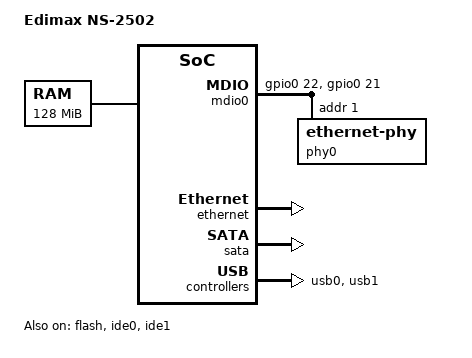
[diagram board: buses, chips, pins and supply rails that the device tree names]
// SPDX-License-Identifier: GPL-2.0
/*
 * Copyright (C) 2021 Corentin Labbe <clabbe@baylibre.com>
 * Device Tree file for Edimax NS 2502
 */

/dts-v1/;

#include "gemini.dtsi"

/ {
	model = "Edimax NS-2502";
	compatible = "edimax,ns-2502", "cortina,gemini";
	#address-cells = <1>;
	#size-cells = <1>;

	memory@0 {
		/* 128 MB */
		device_type = "memory";
		reg = <0x00000000 0x8000000>;
	};

	aliases {
		mdio-gpio0 = &mdio0;
	};

	chosen {
		bootargs = "console=ttyS0,19200n8";
		stdout-path = &uart0;
	};

	mdio0: mdio {
		compatible = "virtual,mdio-gpio";
		gpios = <&gpio0 22 GPIO_ACTIVE_HIGH>, /* MDC */
			<&gpio0 21 GPIO_ACTIVE_HIGH>; /* MDIO */
		#address-cells = <1>;
		#size-cells = <0>;

		phy0: ethernet-phy@1 {
			reg = <1>;
			device_type = "ethernet-phy";
		};
	};
};

&ethernet {
	status = "okay";
	ethernet-port@0 {
		phy-mode = "rgmii-id";
		phy-handle = <&phy0>;
	};
};

&flash {
	status = "okay";
	/* 8MB of flash */
	reg = <0x30000000 0x00800000>;

	pinctrl-names = "enabled", "disabled";
	pinctrl-0 = <&pflash_default_pins>;
	pinctrl-1 = <&pflash_disabled_pins>;

	partitions {
		compatible = "redboot-fis";
		/* Eraseblock at 0x7e0000 */
		fis-index-block = <0x3f>;
	};
};

&gpio0 {
	pinctrl-names = "default";
	pinctrl-0 = <&gpio0_default_pins>;
};

&ide0 {
	status = "okay";
};

&ide1 {
	status = "okay";
};

&sata {
	cortina,gemini-ata-muxmode = <3>;
	cortina,gemini-enable-sata-bridge;
	status = "okay";
};

&syscon {
	pinctrl {
		/*
		 * gpio0agrp cover line 0-4
		 * gpio0bgrp cover line 5
		 */
		gpio0_default_pins: pinctrl-gpio0 {
			    mux {
				    function = "gpio0";
				    groups = "gpio0agrp", "gpio0bgrp", "gpio0hgrp";
			    };
		};
		pflash_disabled_pins: pinctrl-pflash-disabled {
			mux {
				function = "gpio0";
				groups = "gpio0ggrp", "gpio0igrp", "gpio0jgrp",
					 "gpio0kgrp";
			};
		};
		pinctrl-gmii {
			mux {
				function = "gmii";
				groups = "gmii_gmac0_grp";
				};
		};
	};
};

&usb0 {
	status = "okay";
};

&usb1 {
	status = "okay";
};
